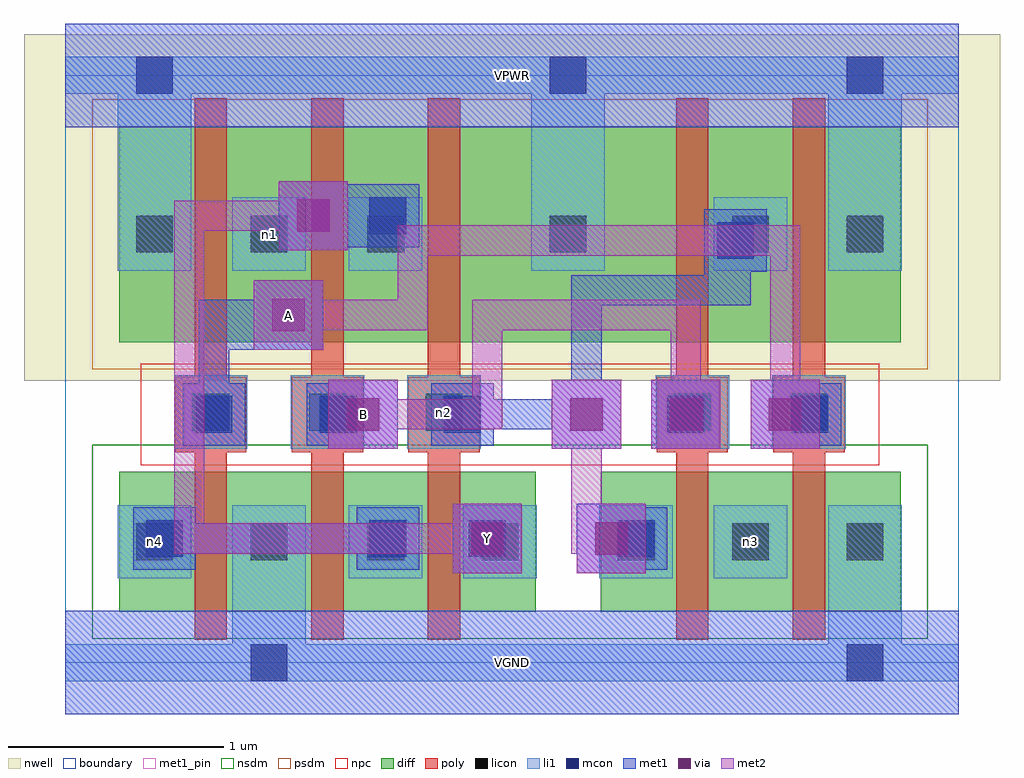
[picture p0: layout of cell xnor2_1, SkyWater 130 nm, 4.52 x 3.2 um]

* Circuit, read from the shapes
.subckt xnor2_1 A B VGND VPWR Y n1 n2 n3 n4
XM1 VGND A n4 VSUBS sky130_fd_pr__nfet_01v8 w=0.65 l=0.15
XM2 n4 B VGND VSUBS sky130_fd_pr__nfet_01v8 w=0.65 l=0.15
XM3 Y n2 n4 VSUBS sky130_fd_pr__nfet_01v8 w=0.65 l=0.15
XM4 n3 B n2 VSUBS sky130_fd_pr__nfet_01v8 w=0.65 l=0.15
XM5 VGND A n3 VSUBS sky130_fd_pr__nfet_01v8 w=0.65 l=0.15
XM6 n1 A VPWR n5 sky130_fd_pr__pfet_01v8 w=1 l=0.15
XM7 Y B n1 n5 sky130_fd_pr__pfet_01v8 w=1 l=0.15
XM8 VPWR n2 Y n5 sky130_fd_pr__pfet_01v8 w=1 l=0.15
XM9 n2 B VPWR n5 sky130_fd_pr__pfet_01v8 w=1 l=0.15
XM10 VPWR A n2 n5 sky130_fd_pr__pfet_01v8 w=1 l=0.15
.ends

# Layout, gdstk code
import gdstk
lib = gdstk.Library(unit=1e-6, precision=1e-09)
def R(c, l, rs):  # rectangles x0, y0, x1, y1
    for r in rs: c.add(gdstk.rectangle(r[:2], r[2:], *l))
def A(c, l, x, y, w, h, nx, ny, dx, dy):  # array of equal rectangles
    R(c, l, [(x+i*dx, y+j*dy, x+i*dx+w, y+j*dy+h) for i in range(nx) for j in range(ny)])
nwell = (64, 20)
diff = (65, 20)
poly = (66, 20)
licon = (66, 44)
li1 = (67, 20)
mcon = (67, 44)
met1_pin = (68, 16)
met1 = (68, 20)
via = (68, 44)
met2 = (69, 20)
nsdm = (93, 44)
psdm = (94, 20)
npc = (95, 20)
boundary = (235, 4)

xnor2_1 = lib.new_cell('xnor2_1')
R(xnor2_1, nwell, [(-0.19,1.305,4.33,2.91), (0,1.305,4.14,2.91)])
R(xnor2_1, diff, [(0.25,0.235,2.18,0.885), (2.48,0.235,3.87,0.885), (0.25,1.485,3.87,2.485)])
A(xnor2_1, poly, 0.6, 0.105, 0.15, 2.51, 3, 1, 0.54, 0)
A(xnor2_1, poly, 0.51, 0.975, 0.33, 0.35, 3, 1, 0.54, 0)
R(xnor2_1, poly, [(2.83,0.105,2.98,2.615), (3.37,0.105,3.52,2.615), (2.74,0.975,3.07,1.325), (3.28,0.975,3.61,1.325)])
A(xnor2_1, licon, 2.56, 0.475, 0.17, 0.17, 3, 1, 0.53, 0)
A(xnor2_1, licon, 0.59, 1.075, 0.17, 0.17, 3, 1, 0.54, 0)
A(xnor2_1, licon, 1.4, 1.9, 0.17, 0.17, 3, 1, 0.845, 0)
R(xnor2_1, licon, [(0.33,0.475,0.5,0.645), (0.86,0.475,1.03,0.645), (1.4,0.475,1.57,0.645), (1.93,0.475,2.1,0.645), (2.82,1.075,2.99,1.245), (3.36,1.075,3.53,1.245), (0.33,1.9,0.5,2.07), (0.86,1.9,1.03,2.07), (3.62,1.9,3.79,2.07)])
A(xnor2_1, li1, 0.505, 0.99, 0.34, 0.34, 3, 1, 0.54, 0)
R(xnor2_1, li1, [(0,-0.085,4.14,0.085), (0.775,-0.085,1.115,0.73), (3.535,-0.085,3.875,0.73), (0.245,0.39,0.585,0.73), (1.315,0.39,1.655,0.73), (1.845,0.39,2.185,0.73), (2.475,0.39,2.815,0.73), (3.005,0.39,3.345,0.73), (2.735,0.99,3.075,1.33), (3.275,0.99,3.615,1.33), (0.245,1.815,0.585,2.805), (0.775,1.815,1.115,2.155), (1.315,1.815,1.655,2.155), (2.16,1.815,2.5,2.805), (3.005,1.815,3.345,2.155), (3.535,1.815,3.875,2.805), (0,2.635,4.14,2.805)])
A(xnor2_1, mcon, 0.605, 1.065, 0.17, 0.17, 3, 1, 0.575, 0)
R(xnor2_1, mcon, [(0.86,-0.085,1.03,0.085), (3.62,-0.085,3.79,0.085), (0.375,0.49,0.545,0.66), (1.41,0.49,1.58,0.66), (1.87,0.49,2.04,0.66), (2.56,0.49,2.73,0.66), (2.79,1.065,2.96,1.235), (3.365,1.065,3.535,1.235), (3.02,1.87,3.19,2.04), (1.41,1.985,1.58,2.155), (0.33,2.635,0.5,2.805), (2.245,2.635,2.415,2.805), (3.62,2.635,3.79,2.805)])
R(xnor2_1, met1_pin, [(0,-0.24,4.14,0.24), (1.795,0.415,2.115,0.735), (1.22,0.99,1.54,1.31), (0.875,1.45,1.195,1.77), (0,2.48,4.14,2.96)])
A(xnor2_1, met1, 2.255, 0.99, 0.32, 0.32, 3, 1, 0.46, 0)
A(xnor2_1, met1, 0.545, 1.005, 0.29, 0.29, 3, 1, 0.575, 0)
R(xnor2_1, met1, [(0,-0.24,4.14,0.24), (1.795,0.415,2.115,0.735), (2.37,0.415,2.69,0.735), (0.315,0.43,0.605,0.72), (1.35,0.43,1.64,0.72), (1.81,0.43,2.1,0.72), (2.5,0.43,2.79,0.72), (0.39,0.505,1.565,0.645), (2.46,0.505,2.715,0.645), (1.22,0.99,1.54,1.31), (2.73,1.005,3.02,1.295), (3.305,1.005,3.595,1.295), (0.62,1.08,0.76,1.68), (1.195,1.08,1.45,1.22), (1.77,1.08,2.485,1.22), (2.345,1.08,2.485,1.795), (3.265,1.08,3.52,1.22), (0.76,1.45,0.875,1.68), (0.875,1.45,1.195,1.77), (0.62,1.54,1.105,1.68), (2.345,1.655,3.175,1.795), (3.035,1.655,3.175,2.025), (2.96,1.795,3.175,1.81), (2.96,1.81,3.25,2.1), (0.99,1.91,1.31,2.23), (1.31,1.925,1.35,2.215), (1.35,1.925,1.64,2.215), (1.08,2,1.565,2.14), (0,2.48,4.14,2.96)])
A(xnor2_1, via, 2.34, 1.075, 0.15, 0.15, 3, 1, 0.46, 0)
R(xnor2_1, via, [(1.88,0.5,2.03,0.65), (2.455,0.5,2.605,0.65), (1.305,1.075,1.455,1.225), (0.96,1.535,1.11,1.685), (1.075,1.995,1.225,2.145)])
A(xnor2_1, met2, 2.255, 0.99, 0.32, 0.32, 3, 1, 0.46, 0)
R(xnor2_1, met2, [(1.795,0.415,2.115,0.735), (2.37,0.415,2.69,0.735), (0.505,0.505,2.025,0.645), (0.505,0.505,0.645,2.14), (2.345,0.505,2.6,0.645), (2.345,0.505,2.485,1.22), (1.22,0.99,1.54,1.31), (1.31,1.08,2.025,1.22), (1.885,1.08,2.025,1.68), (2.805,1.08,2.945,1.68), (3.265,1.08,3.405,2.025), (0.875,1.45,1.195,1.77), (0.965,1.54,1.68,1.68), (1.54,1.54,1.68,2.025), (1.885,1.54,2.945,1.68), (1.54,1.885,3.405,2.025), (0.99,1.91,1.31,2.23), (0.505,2,1.22,2.14)])
R(xnor2_1, nsdm, [(0.125,0.11,3.995,1.01)])
R(xnor2_1, psdm, [(0.125,1.36,3.995,2.61)])
R(xnor2_1, npc, [(0.35,0.915,3.77,1.385)])
R(xnor2_1, boundary, [(0,0,4.14,2.72)])
xnor2_1.add(gdstk.Label('n2', (1.755,1.16), layer=67, texttype=5))
xnor2_1.add(gdstk.Label('n4', (0.415,0.56), layer=67, texttype=5))
xnor2_1.add(gdstk.Label('n3', (3.175,0.56), layer=67, texttype=5))
xnor2_1.add(gdstk.Label('n1', (0.945,1.985), layer=67, texttype=5))
xnor2_1.add(gdstk.Label('A', (1.035,1.61), layer=68, texttype=5))
xnor2_1.add(gdstk.Label('B', (1.38,1.15), layer=68, texttype=5))
xnor2_1.add(gdstk.Label('Y', (1.955,0.575), layer=68, texttype=5))
xnor2_1.add(gdstk.Label('VPWR', (2.07,2.72), layer=68, texttype=5))
xnor2_1.add(gdstk.Label('VGND', (2.07,0), layer=68, texttype=5))
xnor2_1.add(gdstk.Label('A', (1.035,1.61), layer=68, texttype=16))
xnor2_1.add(gdstk.Label('B', (1.38,1.15), layer=68, texttype=16))
xnor2_1.add(gdstk.Label('Y', (1.955,0.575), layer=68, texttype=16))
xnor2_1.add(gdstk.Label('VPWR', (2.07,2.72), layer=68, texttype=16))
xnor2_1.add(gdstk.Label('VGND', (2.07,0), layer=68, texttype=16))

lib.write_gds('xnor2_1.gds')
